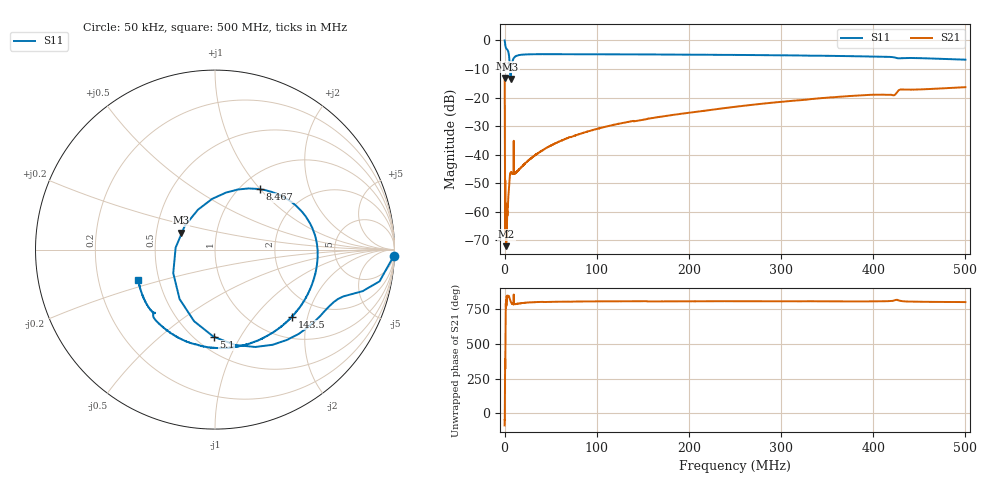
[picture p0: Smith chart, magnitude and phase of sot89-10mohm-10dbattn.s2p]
# HZ S RI R 50
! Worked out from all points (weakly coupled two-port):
!   5050 points, 50 kHz to 500 MHz, reference 50 ohm
!   highest |S21| = -13.33 dB at 50 kHz (marker M1); lowest = -72.0 dB at 1.832 MHz (marker M2)
!   lowest |S11| = -13.5 dB at 6.486 MHz (marker M3), VSWR 1.54, Z = 33.6 + j6.68 ohm
!   |S11| at or under -10 dB: 5.784 MHz to 7.423 MHz (1.639 MHz wide, 24.8 % of centre)
!   S12 and S22 are empty: the file has one direction only
!   S11 on the Smith chart (normalised r, x): 50 kHz: 5, -56; 5.1 MHz: 0.61, -0.78; 8.467 MHz: 1.22, +1.00; 143.5 MHz: 1.45, -1.60; 500 MHz: 0.38, -0.16
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50000  0.9959 -0.0352  0.0136 -0.2151  0 0  0 0
1832360  0.6622 -0.2921  -5.28e-05 0.000246  0 0  0 0
2723540  0.5875 -0.3686  -0.000253 0.000665  0 0  0 0
3020600  0.5552 -0.4  -0.000547 0.000649  0 0  0 0
3911780  0.4008 -0.5032  -0.000976 0.00119  0 0  0 0
5100020  -0.00812 -0.4854  -0.00158 0.00281  0 0  0 0
6486300  -0.189 0.095  -9.54e-05 0.0048  0 0  0 0
7476500  0.0606 0.3174  0.00122 0.00473  0 0  0 0
8466700  0.2517 0.3362  0.00154 0.00448  0 0  0 0
9952000  0.3974 0.2846  -0.0129 0.0119  0 0  0 0
1.163534e7  0.4715 0.2249  0.00173 0.00444  0 0  0 0
1.826968e7  0.5516 0.0952  0.0016 0.0059  0 0  0 0
4.480704e7  0.5685 -0.0785  0.00145 0.0129  0 0  0 0
8.342484e7  0.5308 -0.2187  0.00109 0.0236  0 0  0 0
1.4353e8  0.429 -0.3733  0.000579 0.0391  0 0  0 0
1.667007e8  0.3795 -0.4198  0.00155 0.0455  0 0  0 0
2.500755e8  0.1632 -0.5322  0.00102 0.0689  0 0  0 0
3.333513e8  -0.0994 -0.5298  0.00135 0.0944  0 0  0 0
4.167262e8  -0.3292 -0.395  -0.000157 0.1116  0 0  0 0
4.226674e8  -0.3448 -0.3686  -0.00879 0.1094  0 0  0 0
4.30787e8  -0.3365 -0.3534  -0.00116 0.1386  0 0  0 0
5.00002e8  -0.4288 -0.1676  0.0183 0.1507  0 0  0 0
